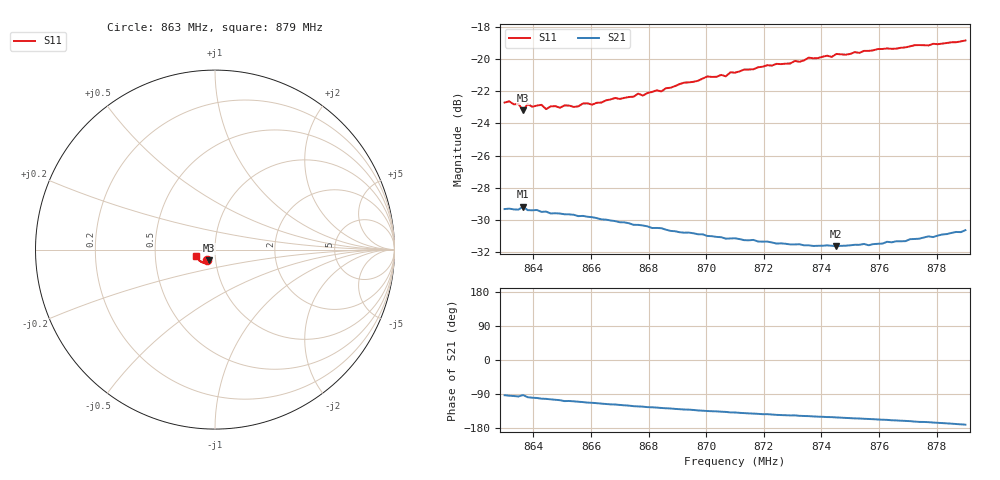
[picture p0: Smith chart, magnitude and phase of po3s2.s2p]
# HZ S RI R 50
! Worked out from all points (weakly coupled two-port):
!   101 points, 863 MHz to 879 MHz, reference 50 ohm
!   highest |S21| = -29.18 dB at 863.64 MHz (marker M1); lowest = -31.6 dB at 874.52 MHz (marker M2)
!   lowest |S11| = -23.2 dB at 863.64 MHz (marker M3), VSWR 1.15, Z = 46.4 - j5.63 ohm
!   |S11| at or under -10 dB: start of sweep to end of sweep
!   S12 and S22 are empty: the file has one direction only
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8.63e8  -0.043 -0.0593  -0.00177 -0.0341  0 0  0 0
8.6348e8  -0.0419 -0.0592  -0.00375 -0.0338  0 0  0 0
8.6364e8  -0.0341 -0.0604  -0.00145 -0.0347  0 0  0 0
8.638e8  -0.0417 -0.0593  -0.00485 -0.0335  0 0  0 0
8.6396e8  -0.0398 -0.059  -0.00562 -0.0334  0 0  0 0
8.6428e8  -0.0388 -0.0608  -0.00702 -0.0327  0 0  0 0
8.6444e8  -0.0376 -0.059  -0.00728 -0.0327  0 0  0 0
8.646e8  -0.0386 -0.0599  -0.00792 -0.0321  0 0  0 0
8.6556e8  -0.0373 -0.0608  -0.0111 -0.0305  0 0  0 0
8.6572e8  -0.0378 -0.0622  -0.0117 -0.0303  0 0  0 0
8.6604e8  -0.0364 -0.0623  -0.0126 -0.0297  0 0  0 0
8.6684e8  -0.0376 -0.0657  -0.0144 -0.0278  0 0  0 0
8.6844e8  -0.0408 -0.0681  -0.0177 -0.0239  0 0  0 0
8.7004e8  -0.049 -0.0736  -0.0198 -0.02  0 0  0 0
8.7068e8  -0.0513 -0.072  -0.0202 -0.0188  0 0  0 0
8.7084e8  -0.0549 -0.0726  -0.0207 -0.0184  0 0  0 0
8.71e8  -0.0539 -0.073  -0.0207 -0.0184  0 0  0 0
8.7372e8  -0.0716 -0.0708  -0.0224 -0.0135  0 0  0 0
8.7436e8  -0.0767 -0.0667  -0.0229 -0.0128  0 0  0 0
8.7452e8  -0.0799 -0.0663  -0.023 -0.0125  0 0  0 0
8.7644e8  -0.0919 -0.0562  -0.0251 -0.00963  0 0  0 0
8.79e8  -0.1085 -0.0363  -0.029 -0.00478  0 0  0 0
